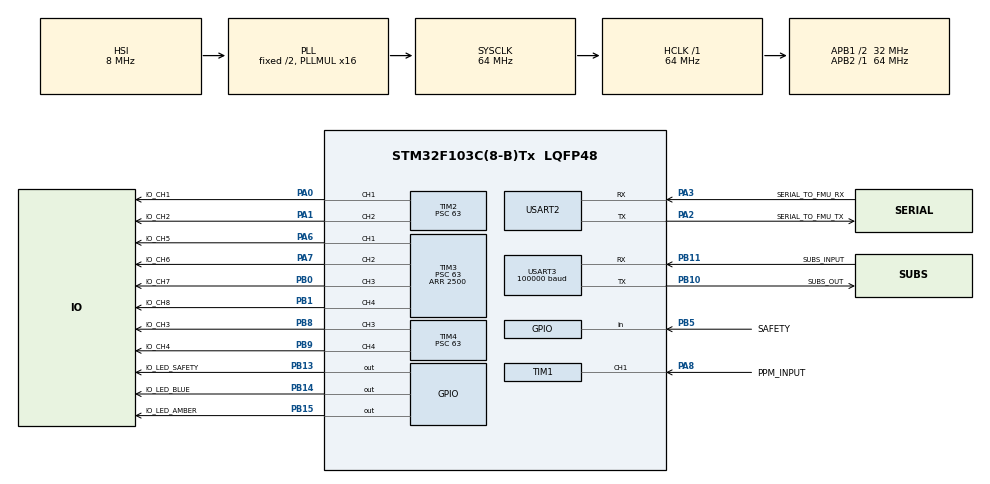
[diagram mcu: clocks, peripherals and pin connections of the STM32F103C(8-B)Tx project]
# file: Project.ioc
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Dma.Request0=USART2_RX
Dma.Request1=USART3_RX
Dma.USART2_RX.0.Direction=DMA_PERIPH_TO_MEMORY
Dma.USART2_RX.0.Instance=DMA1_Channel6
Dma.USART2_RX.0.MemDataAlignment=DMA_MDATAALIGN_BYTE
Dma.USART2_RX.0.MemInc=DMA_MINC_ENABLE
Dma.USART2_RX.0.Mode=DMA_CIRCULAR
Dma.USART2_RX.0.PeriphDataAlignment=DMA_PDATAALIGN_BYTE
Dma.USART2_RX.0.PeriphInc=DMA_PINC_DISABLE
Dma.USART2_RX.0.Priority=DMA_PRIORITY_MEDIUM
Dma.USART3_RX.1.Direction=DMA_PERIPH_TO_MEMORY
Dma.USART3_RX.1.Instance=DMA1_Channel3
Dma.USART3_RX.1.MemDataAlignment=DMA_MDATAALIGN_BYTE
Dma.USART3_RX.1.MemInc=DMA_MINC_ENABLE
Dma.USART3_RX.1.Mode=DMA_CIRCULAR
Dma.USART3_RX.1.PeriphDataAlignment=DMA_PDATAALIGN_BYTE
Dma.USART3_RX.1.PeriphInc=DMA_PINC_DISABLE
Dma.USART3_RX.1.Priority=DMA_PRIORITY_HIGH
Mcu.Family=STM32F1
Mcu.Name=STM32F103C(8-B)Tx
Mcu.Package=LQFP48
NVIC.DMA1_Channel3_IRQn=true\:0\:0\:false\:false\:true\:false\:true
NVIC.DMA1_Channel6_IRQn=true\:0\:0\:false\:false\:true\:false\:true
NVIC.PriorityGroup=NVIC_PRIORITYGROUP_2
NVIC.TIM1_CC_IRQn=true\:1\:2\:true\:false\:true\:true\:true
NVIC.USART2_IRQn=true\:1\:0\:true\:false\:true\:true\:true
NVIC.USART3_IRQn=true\:1\:1\:true\:false\:true\:true\:true
PA0-WKUP.GPIO_Label=IO_CH1
PA0-WKUP.Signal=S_TIM2_CH1_ETR
PA1.GPIO_Label=IO_CH2
PA1.Signal=S_TIM2_CH2
PA13.Mode=Trace_Asynchronous_SW
PA13.Signal=SYS_JTMS-SWDIO
PA14.Mode=Trace_Asynchronous_SW
PA14.Signal=SYS_JTCK-SWCLK
PA2.GPIO_Label=SERIAL_TO_FMU_TX
PA2.Mode=Asynchronous
PA2.Signal=USART2_TX
PA3.GPIO_Label=SERIAL_TO_FMU_RX
PA3.Mode=Asynchronous
PA3.Signal=USART2_RX
PA6.GPIO_Label=IO_CH5
PA6.Signal=S_TIM3_CH1
PA7.GPIO_Label=IO_CH6
PA7.Signal=S_TIM3_CH2
PA8.GPIO_Label=PPM_INPUT
PA8.Signal=S_TIM1_CH1
PB0.GPIO_Label=IO_CH7
PB0.Signal=S_TIM3_CH3
PB1.GPIO_Label=IO_CH8
PB1.Signal=S_TIM3_CH4
PB10.GPIO_Label=SUBS_OUT
PB10.Mode=Asynchronous
PB10.Signal=USART3_TX
PB11.GPIO_Label=SUBS_INPUT
PB11.Mode=Asynchronous
PB11.Signal=USART3_RX
PB13.GPIO_Label=IO_LED_SAFETY
PB13.GPIO_ModeDefaultOutputPP=GPIO_MODE_OUTPUT_PP
PB13.PinState=GPIO_PIN_SET
PB13.Signal=GPIO_Output
PB14.GPIO_Label=IO_LED_BLUE
PB14.PinState=GPIO_PIN_SET
PB14.Signal=GPIO_Output
PB15.GPIO_Label=IO_LED_AMBER
PB15.PinState=GPIO_PIN_SET
PB15.Signal=GPIO_Output
PB3.Mode=Trace_Asynchronous_SW
PB3.Signal=SYS_JTDO-TRACESWO
PB5.GPIO_Label=SAFETY
PB5.Signal=GPIO_Input
PB8.GPIO_Label=IO_CH3
PB8.Signal=S_TIM4_CH3
PB9.GPIO_Label=IO_CH4
PB9.Signal=S_TIM4_CH4
ProjectManager.HeapSize=0x200
ProjectManager.StackSize=0x400
ProjectManager.TargetToolchain=MDK-ARM V5
RCC.AHBFreq_Value=64000000
RCC.APB1CLKDivider=RCC_HCLK_DIV2
RCC.APB1Freq_Value=32000000
RCC.APB1TimFreq_Value=64000000
RCC.APB2Freq_Value=64000000
RCC.APB2TimFreq_Value=64000000
RCC.HCLKFreq_Value=64000000
RCC.HSE_VALUE=16000000
RCC.PLLMUL=RCC_PLL_MUL16
RCC.SYSCLKFreq_VALUE=64000000
RCC.SYSCLKSource=RCC_SYSCLKSOURCE_PLLCLK
RCC.USBFreq_Value=64000000
SH.S_TIM1_CH1.0=TIM1_CH1,Input_Capture1_from_TI1
SH.S_TIM2_CH1_ETR.0=TIM2_CH1,PWM Generation1 CH1
SH.S_TIM2_CH2.0=TIM2_CH2,PWM Generation2 CH2
SH.S_TIM3_CH1.0=TIM3_CH1,PWM Generation1 CH1
SH.S_TIM3_CH2.0=TIM3_CH2,PWM Generation2 CH2
SH.S_TIM3_CH3.0=TIM3_CH3,PWM Generation3 CH3
SH.S_TIM3_CH4.0=TIM3_CH4,PWM Generation4 CH4
SH.S_TIM4_CH3.0=TIM4_CH3,PWM Generation3 CH3
SH.S_TIM4_CH4.0=TIM4_CH4,PWM Generation4 CH4
TIM1.AutoReloadPreload=TIM_AUTORELOAD_PRELOAD_DISABLE
TIM1.Channel-Input_Capture1_from_TI1=TIM_CHANNEL_1
TIM1.ICFilter_CH1=4
TIM1.Period=65535
TIM1.Prescaler=63
TIM2.Channel-PWM\ Generation1\ CH1=TIM_CHANNEL_1
TIM2.Channel-PWM\ Generation2\ CH2=TIM_CHANNEL_2
TIM2.Period=2500
TIM2.Prescaler=63
TIM2.Pulse-PWM\ Generation1\ CH1=1000
TIM2.Pulse-PWM\ Generation2\ CH2=1000
TIM3.Channel-PWM\ Generation1\ CH1=TIM_CHANNEL_1
TIM3.Channel-PWM\ Generation2\ CH2=TIM_CHANNEL_2
TIM3.Channel-PWM\ Generation3\ CH3=TIM_CHANNEL_3
TIM3.Channel-PWM\ Generation4\ CH4=TIM_CHANNEL_4
TIM3.Period=2500
TIM3.Prescaler=63
TIM3.Pulse-PWM\ Generation1\ CH1=1000
TIM3.Pulse-PWM\ Generation2\ CH2=1000
TIM3.Pulse-PWM\ Generation3\ CH3=1000
TIM3.Pulse-PWM\ Generation4\ CH4=1000
TIM4.Channel-PWM\ Generation3\ CH3=TIM_CHANNEL_3
TIM4.Channel-PWM\ Generation4\ CH4=TIM_CHANNEL_4
TIM4.Period=2500
TIM4.Prescaler=63
TIM4.Pulse-PWM\ Generation3\ CH3=1000
TIM4.Pulse-PWM\ Generation4\ CH4=1000
USART2.VirtualMode=VM_ASYNC
USART3.BaudRate=100000
USART3.Parity=PARITY_EVEN
USART3.StopBits=STOPBITS_2
USART3.VirtualMode=VM_ASYNC
USART3.WordLength=WORDLENGTH_9B
board=Project

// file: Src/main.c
/* USER CODE BEGIN Header */
/**
  ******************************************************************************
  * @file           : main.c
  * @brief          : Main program body
  ******************************************************************************
  * @attention
  *
  * <h2><center>&copy; Copyright (c) 2020 STMicroelectronics.
  * All rights reserved.</center></h2>
  *
  * This software component is licensed by ST under BSD 3-Clause license,
  * the "License"; You may not use this file except in compliance with the
  * License. You may obtain a copy of the License at:
  *                        opensource.org/licenses/BSD-3-Clause
  *
  ******************************************************************************
  */
/* USER CODE END Header */

#include "main.h"
#include "dma.h"
#include "tim.h"
#include "usart.h"
#include "gpio.h"

/* USER CODE BEGIN Includes */
#include "md_include.h"
#include "example.h"
/* USER CODE END Includes */

void SystemClock_Config(void);

int main(void)
{

  /* MCU Configuration--------------------------------------------------------*/

  /* Reset of all peripherals, Initializes the Flash interface and the Systick. */
  HAL_Init();

  /* Configure the system clock */
  SystemClock_Config();

  /* Initialize all configured peripherals */
  MX_GPIO_Init();
  MX_DMA_Init();
  MX_TIM1_Init();
  MX_USART3_UART_Init();
  MX_TIM2_Init();
  MX_TIM3_Init();
  MX_TIM4_Init();
  MX_USART2_UART_Init();
  /* USER CODE BEGIN 2 */
  RC_Input_Init();
  PWM_Set_Output_Enable();
	Com_TwoBoard_Init();
  /* USER CODE END 2 */

  /* Infinite loop */
  while (1)
  {

    /* USER CODE BEGIN 3 */
    RC_Input_Loop();
  //Com_TwoBoard_RB_Update();
  	Example_Exchage_COM();
	//Example_RCin_PWMout_Direct();
  }
  /* USER CODE END 3 */
}

void SystemClock_Config(void)
{
  RCC_OscInitTypeDef RCC_OscInitStruct = {0};
  RCC_ClkInitTypeDef RCC_ClkInitStruct = {0};

  /** Initializes the CPU, AHB and APB busses clocks
  */
  RCC_OscInitStruct.OscillatorType = RCC_OSCILLATORTYPE_HSI;
  RCC_OscInitStruct.HSIState = RCC_HSI_ON;
  RCC_OscInitStruct.HSICalibrationValue = RCC_HSICALIBRATION_DEFAULT;
  RCC_OscInitStruct.PLL.PLLState = RCC_PLL_ON;
  RCC_OscInitStruct.PLL.PLLSource = RCC_PLLSOURCE_HSI_DIV2;
  RCC_OscInitStruct.PLL.PLLMUL = RCC_PLL_MUL16;
  if (HAL_RCC_OscConfig(&RCC_OscInitStruct) != HAL_OK)
  {
    Error_Handler();
  }
  /** Initializes the CPU, AHB and APB busses clocks
  */
  RCC_ClkInitStruct.ClockType = RCC_CLOCKTYPE_HCLK|RCC_CLOCKTYPE_SYSCLK
                              |RCC_CLOCKTYPE_PCLK1|RCC_CLOCKTYPE_PCLK2;
  RCC_ClkInitStruct.SYSCLKSource = RCC_SYSCLKSOURCE_PLLCLK;
  RCC_ClkInitStruct.AHBCLKDivider = RCC_SYSCLK_DIV1;
  RCC_ClkInitStruct.APB1CLKDivider = RCC_HCLK_DIV2;
  RCC_ClkInitStruct.APB2CLKDivider = RCC_HCLK_DIV1;

  if (HAL_RCC_ClockConfig(&RCC_ClkInitStruct, FLASH_LATENCY_2) != HAL_OK)
  {
    Error_Handler();
  }
}

/* USER CODE BEGIN 4 */
void HAL_TIM_IC_CaptureCallback(TIM_HandleTypeDef *htim)
{
	if(htim == &htim1)
	{
		if (htim->Channel == HAL_TIM_ACTIVE_CHANNEL_1)
  {
			PPM_RX_InterruptHandler();
  }
	}
}

void HAL_UART_TxCpltCallback(UART_HandleTypeDef *huart)
{
  /* Set transmission flag: trasfer complete*/
	if(huart->Instance == USART2)
	{
	 Com_TwoBoard_TX_InterruptHandler();
	}
}

void HAL_UART_RxCpltCallback(UART_HandleTypeDef *huart)
{
  /* Set transmission flag: trasfer complete*/
  if(huart->Instance == USART3)
	{
	  SBUS_RX_InterruptHandler();
	}

	if(huart->Instance == USART2)
	{
	  Com_TwoBoard_RX_InterruptHandler();
	}
}
/* USER CODE END 4 */

void Error_Handler(void)
{
}

/************************ (C) COPYRIGHT STMicroelectronics *****END OF FILE****/
